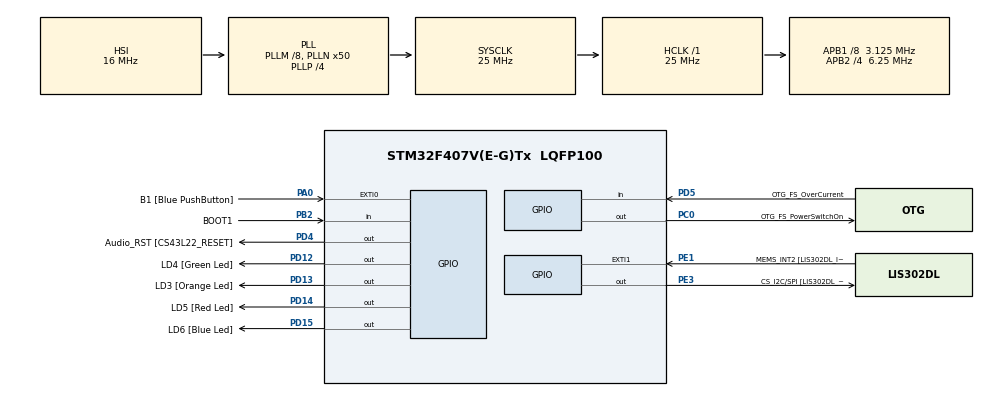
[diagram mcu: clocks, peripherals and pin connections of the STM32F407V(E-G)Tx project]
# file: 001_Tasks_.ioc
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Mcu.Family=STM32F4
Mcu.Name=STM32F407V(E-G)Tx
Mcu.Package=LQFP100
NVIC.PriorityGroup=NVIC_PRIORITYGROUP_4
NVIC.TIM6_DAC_IRQn=true\:0\:0\:false\:false\:true\:false\:true
NVIC.TimeBase=TIM6_DAC_IRQn
NVIC.TimeBaseIP=TIM6
PA0-WKUP.GPIO_Label=B1 [Blue PushButton]
PA0-WKUP.GPIO_ModeDefaultEXTI=GPIO_MODE_EVT_RISING
PA0-WKUP.GPIO_PuPd=GPIO_NOPULL
PA0-WKUP.Signal=GPXTI0
PA10.GPIO_Label=OTG_FS_ID
PA10.GPIO_Mode=GPIO_MODE_AF_PP
PA10.GPIO_PuPd=GPIO_NOPULL
PA10.GPIO_Speed=GPIO_SPEED_FREQ_LOW
PA10.Signal=USB_OTG_FS_ID
PA11.GPIO_Label=OTG_FS_DM
PA11.GPIO_Mode=GPIO_MODE_AF_PP
PA11.GPIO_PuPd=GPIO_NOPULL
PA11.GPIO_Speed=GPIO_SPEED_FREQ_LOW
PA11.Signal=USB_OTG_FS_DM
PA12.GPIO_Label=OTG_FS_DP
PA12.GPIO_Mode=GPIO_MODE_AF_PP
PA12.GPIO_PuPd=GPIO_NOPULL
PA12.GPIO_Speed=GPIO_SPEED_FREQ_LOW
PA12.Signal=USB_OTG_FS_DP
PA13.GPIO_Label=SWDIO
PA13.Signal=SYS_JTMS-SWDIO
PA14.GPIO_Label=SWCLK
PA14.Signal=SYS_JTCK-SWCLK
PA4.GPIO_Label=I2S3_WS [CS43L22_LRCK]
PA4.GPIO_Mode=GPIO_MODE_AF_PP
PA4.GPIO_PuPd=GPIO_NOPULL
PA4.GPIO_Speed=GPIO_SPEED_FREQ_LOW
PA4.Signal=I2S3_WS
PA5.GPIO_Label=SPI1_SCK [LIS302DL_SCL/SPC]
PA5.GPIO_Mode=GPIO_MODE_AF_PP
PA5.GPIO_PuPd=GPIO_NOPULL
PA5.GPIO_Speed=GPIO_SPEED_FREQ_LOW
PA5.Signal=SPI1_SCK
PA6.GPIO_Label=SPI1_MISO [LIS302DL_SDO]
PA6.GPIO_Mode=GPIO_MODE_AF_PP
PA6.GPIO_PuPd=GPIO_NOPULL
PA6.GPIO_Speed=GPIO_SPEED_FREQ_LOW
PA6.Signal=SPI1_MISO
PA7.GPIO_Label=SPI1_MOSI [LIS302DL_SDA/SDI/SDO]
PA7.GPIO_Mode=GPIO_MODE_AF_PP
PA7.GPIO_PuPd=GPIO_NOPULL
PA7.GPIO_Speed=GPIO_SPEED_FREQ_LOW
PA7.Signal=SPI1_MOSI
PA9.GPIO_Label=VBUS_FS
PA9.GPIO_Mode=GPIO_MODE_INPUT
PA9.GPIO_PuPd=GPIO_NOPULL
PA9.Signal=USB_OTG_FS_VBUS
PB10.GPIO_Label=CLK_IN [MP45DT02_CLK]
PB10.GPIO_Mode=GPIO_MODE_AF_PP
PB10.GPIO_PuPd=GPIO_NOPULL
PB10.GPIO_Speed=GPIO_SPEED_FREQ_LOW
PB10.Signal=I2S2_CK
PB2.GPIO_Label=BOOT1
PB2.GPIO_Mode=GPIO_MODE_INPUT
PB2.GPIO_PuPd=GPIO_NOPULL
PB2.Signal=GPIO_Input
PB3.GPIO_Label=SWO
PB3.Signal=SYS_JTDO-SWO
PB6.GPIO_Label=Audio_SCL [CS43L22_SCL]
PB6.GPIO_Mode=GPIO_MODE_AF_OD
PB6.GPIO_PuPd=GPIO_NOPULL
PB6.GPIO_Speed=GPIO_SPEED_FREQ_LOW
PB6.Signal=I2C1_SCL
PB9.GPIO_Label=Audio_SDA [CS43L22_SDA]
PB9.GPIO_Mode=GPIO_MODE_AF_OD
PB9.GPIO_PuPd=GPIO_NOPULL
PB9.GPIO_Speed=GPIO_SPEED_FREQ_LOW
PB9.Signal=I2C1_SDA
PC0.GPIO_Label=OTG_FS_PowerSwitchOn
PC0.GPIO_PuPd=GPIO_NOPULL
PC0.GPIO_Speed=GPIO_SPEED_FREQ_LOW
PC0.PinState=GPIO_PIN_SET
PC0.Signal=GPIO_Output
PC10.GPIO_Label=I2S3_SCK [CS43L22_SCLK]
PC10.GPIO_Mode=GPIO_MODE_AF_PP
PC10.GPIO_PuPd=GPIO_NOPULL
PC10.GPIO_Speed=GPIO_SPEED_FREQ_LOW
PC10.Signal=I2S3_CK
PC12.GPIO_Label=I2S3_SD [CS43L22_SDIN]
PC12.GPIO_Mode=GPIO_MODE_AF_PP
PC12.GPIO_PuPd=GPIO_NOPULL
PC12.GPIO_Speed=GPIO_SPEED_FREQ_LOW
PC12.Signal=I2S3_SD
PC14-OSC32_IN.GPIO_Label=PC14-OSC32_IN
PC14-OSC32_IN.Signal=RCC_OSC32_IN
PC15-OSC32_OUT.GPIO_Label=PC15-OSC32_OUT
PC15-OSC32_OUT.Signal=RCC_OSC32_OUT
PC3.GPIO_Label=PDM_OUT [MP45DT02_DOUT]
PC3.GPIO_Mode=GPIO_MODE_AF_PP
PC3.GPIO_PuPd=GPIO_NOPULL
PC3.GPIO_Speed=GPIO_SPEED_FREQ_LOW
PC3.Signal=I2S2_SD
PC7.GPIO_Label=I2S3_MCK [CS43L22_MCLK]
PC7.GPIO_Mode=GPIO_MODE_AF_PP
PC7.GPIO_PuPd=GPIO_NOPULL
PC7.GPIO_Speed=GPIO_SPEED_FREQ_LOW
PC7.Signal=I2S3_MCK
PD12.GPIO_Label=LD4 [Green Led]
PD12.GPIO_PuPd=GPIO_NOPULL
PD12.GPIO_Speed=GPIO_SPEED_FREQ_LOW
PD12.Signal=GPIO_Output
PD13.GPIO_Label=LD3 [Orange Led]
PD13.GPIO_PuPd=GPIO_NOPULL
PD13.GPIO_Speed=GPIO_SPEED_FREQ_LOW
PD13.Signal=GPIO_Output
PD14.GPIO_Label=LD5 [Red Led]
PD14.GPIO_PuPd=GPIO_NOPULL
PD14.GPIO_Speed=GPIO_SPEED_FREQ_LOW
PD14.Signal=GPIO_Output
PD15.GPIO_Label=LD6 [Blue Led]
PD15.GPIO_PuPd=GPIO_NOPULL
PD15.GPIO_Speed=GPIO_SPEED_FREQ_LOW
PD15.Signal=GPIO_Output
PD4.GPIO_Label=Audio_RST [CS43L22_RESET]
PD4.GPIO_PuPd=GPIO_NOPULL
PD4.GPIO_Speed=GPIO_SPEED_FREQ_LOW
PD4.Signal=GPIO_Output
PD5.GPIO_Label=OTG_FS_OverCurrent
PD5.GPIO_Mode=GPIO_MODE_INPUT
PD5.GPIO_PuPd=GPIO_NOPULL
PD5.Signal=GPIO_Input
PE1.GPIO_Label=MEMS_INT2 [LIS302DL_INT2]
PE1.GPIO_ModeDefaultEXTI=GPIO_MODE_EVT_RISING
PE1.GPIO_PuPd=GPIO_NOPULL
PE1.Signal=GPXTI1
PE3.GPIO_Label=CS_I2C/SPI [LIS302DL_CS_I2C/SPI]
PE3.GPIO_PuPd=GPIO_NOPULL
PE3.GPIO_Speed=GPIO_SPEED_FREQ_LOW
PE3.Signal=GPIO_Output
PH0-OSC_IN.GPIO_Label=PH0-OSC_IN
PH0-OSC_IN.Signal=RCC_OSC_IN
PH1-OSC_OUT.GPIO_Label=PH1-OSC_OUT
PH1-OSC_OUT.Signal=RCC_OSC_OUT
ProjectManager.HeapSize=0x200
ProjectManager.StackSize=0x400
ProjectManager.TargetToolchain=STM32CubeIDE
RCC.48MHZClocksFreq_Value=14285714.285714285
RCC.AHBFreq_Value=25000000
RCC.APB1CLKDivider=RCC_HCLK_DIV8
RCC.APB1Freq_Value=3125000
RCC.APB1TimFreq_Value=6250000
RCC.APB2CLKDivider=RCC_HCLK_DIV4
RCC.APB2Freq_Value=6250000
RCC.APB2TimFreq_Value=12500000
RCC.CortexFreq_Value=25000000
RCC.HCLKFreq_Value=25000000
RCC.HSE_VALUE=8000000
RCC.HSI_VALUE=16000000
RCC.LSE_VALUE=32768
RCC.PLLM=8
RCC.PLLN=50
RCC.PLLP=RCC_PLLP_DIV4
RCC.PLLQ=7
RCC.SYSCLKFreq_VALUE=25000000
RCC.SYSCLKSource=RCC_SYSCLKSOURCE_PLLCLK
RCC.VCOOutputFreq_Value=100000000
VP_SYS_VS_tim6.Mode=TIM6
board=STM32F4DISCOVERY

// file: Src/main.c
/* USER CODE BEGIN Header */
/**
  ******************************************************************************
  * @file           : main.c
  * @brief          : Main program body
  ******************************************************************************
  * @attention
  *
  * <h2><center>&copy; Copyright (c) 2025 STMicroelectronics.
  * All rights reserved.</center></h2>
  *
  * This software component is licensed by ST under BSD 3-Clause license,
  * the "License"; You may not use this file except in compliance with the
  * License. You may obtain a copy of the License at:
  *                        opensource.org/licenses/BSD-3-Clause
  *
  ******************************************************************************
  */
/* USER CODE END Header */

#include "main.h"

/* USER CODE BEGIN Includes */

#include "FreeRTOS.h"
#include "task.h"
#include <stdio.h>

/* USER CODE END Includes */

/* USER CODE BEGIN PV */

#define DWT_CTRL		(*(volatile uint32_t*)0xE0001000)

/* USER CODE END PV */

void SystemClock_Config(void);
static void MX_GPIO_Init(void);
/* USER CODE BEGIN PFP */

static void task1_handler(void* parameter);
static void task2_handler(void* parameter);

/* USER CODE END PFP */

int main(void)
{
  /* USER CODE BEGIN 1 */

	TaskHandle_t task1_handle;
	TaskHandle_t task2_handle;
	BaseType_t status;

  /* USER CODE END 1 */

  /* MCU Configuration--------------------------------------------------------*/

  /* Reset of all peripherals, Initializes the Flash interface and the Systick. */
  HAL_Init();

  /* Configure the system clock */
  SystemClock_Config();

  /* Initialize all configured peripherals */
  MX_GPIO_Init();
  /* USER CODE BEGIN 2 */

  // Enable the cycle counter
  DWT_CTRL |= (1 << 0);

  SEGGER_SYSVIEW_Conf();

  SEGGER_SYSVIEW_Start();

  printf("Calling the printf() function to avoid HardFault \n");

  status = xTaskCreate(task1_handler, "Task1", 200, "Hello World from Task-1", 2, &task1_handle);

  configASSERT(status == pdPASS);

  status = xTaskCreate(task2_handler, "Task2", 200, "Hello World from Task-2", 2, &task2_handle);

  configASSERT(status == pdPASS);

  // Start the FreeRTOS scheduler
  vTaskStartScheduler();

  // If the control comes here, then the launch of the scheduler has failed due to insufficient memory in the heap

  /* USER CODE END 2 */

  /* Infinite loop */
  /* USER CODE BEGIN WHILE */
  while (1)
  {
	  printf("Hello World\n");

    /* USER CODE END WHILE */

  }
}

void SystemClock_Config(void)
{
  RCC_OscInitTypeDef RCC_OscInitStruct = {0};
  RCC_ClkInitTypeDef RCC_ClkInitStruct = {0};

  /** Configure the main internal regulator output voltage
  */
  __HAL_RCC_PWR_CLK_ENABLE();
  __HAL_PWR_VOLTAGESCALING_CONFIG(PWR_REGULATOR_VOLTAGE_SCALE1);
  /** Initializes the CPU, AHB and APB busses clocks
  */
  RCC_OscInitStruct.OscillatorType = RCC_OSCILLATORTYPE_HSI;
  RCC_OscInitStruct.HSIState = RCC_HSI_ON;
  RCC_OscInitStruct.HSICalibrationValue = RCC_HSICALIBRATION_DEFAULT;
  RCC_OscInitStruct.PLL.PLLState = RCC_PLL_ON;
  RCC_OscInitStruct.PLL.PLLSource = RCC_PLLSOURCE_HSI;
  RCC_OscInitStruct.PLL.PLLM = 8;
  RCC_OscInitStruct.PLL.PLLN = 50;
  RCC_OscInitStruct.PLL.PLLP = RCC_PLLP_DIV4;
  RCC_OscInitStruct.PLL.PLLQ = 7;
  if (HAL_RCC_OscConfig(&RCC_OscInitStruct) != HAL_OK)
  {
    Error_Handler();
  }
  /** Initializes the CPU, AHB and APB busses clocks
  */
  RCC_ClkInitStruct.ClockType = RCC_CLOCKTYPE_HCLK|RCC_CLOCKTYPE_SYSCLK
                              |RCC_CLOCKTYPE_PCLK1|RCC_CLOCKTYPE_PCLK2;
  RCC_ClkInitStruct.SYSCLKSource = RCC_SYSCLKSOURCE_PLLCLK;
  RCC_ClkInitStruct.AHBCLKDivider = RCC_SYSCLK_DIV1;
  RCC_ClkInitStruct.APB1CLKDivider = RCC_HCLK_DIV8;
  RCC_ClkInitStruct.APB2CLKDivider = RCC_HCLK_DIV4;

  if (HAL_RCC_ClockConfig(&RCC_ClkInitStruct, FLASH_LATENCY_0) != HAL_OK)
  {
    Error_Handler();
  }
}

static void MX_GPIO_Init(void)
{
  GPIO_InitTypeDef GPIO_InitStruct = {0};

  /* GPIO Ports Clock Enable */
  __HAL_RCC_GPIOE_CLK_ENABLE();
  __HAL_RCC_GPIOC_CLK_ENABLE();
  __HAL_RCC_GPIOH_CLK_ENABLE();
  __HAL_RCC_GPIOA_CLK_ENABLE();
  __HAL_RCC_GPIOB_CLK_ENABLE();
  __HAL_RCC_GPIOD_CLK_ENABLE();

  /*Configure GPIO pin Output Level */
  HAL_GPIO_WritePin(CS_I2C_SPI_GPIO_Port, CS_I2C_SPI_Pin, GPIO_PIN_RESET);

  /*Configure GPIO pin Output Level */
  HAL_GPIO_WritePin(OTG_FS_PowerSwitchOn_GPIO_Port, OTG_FS_PowerSwitchOn_Pin, GPIO_PIN_SET);

  /*Configure GPIO pin Output Level */
  HAL_GPIO_WritePin(GPIOD, LD4_Pin|LD3_Pin|LD5_Pin|LD6_Pin
                          |Audio_RST_Pin, GPIO_PIN_RESET);

  /*Configure GPIO pin : CS_I2C_SPI_Pin */
  GPIO_InitStruct.Pin = CS_I2C_SPI_Pin;
  GPIO_InitStruct.Mode = GPIO_MODE_OUTPUT_PP;
  GPIO_InitStruct.Pull = GPIO_NOPULL;
  GPIO_InitStruct.Speed = GPIO_SPEED_FREQ_LOW;
  HAL_GPIO_Init(CS_I2C_SPI_GPIO_Port, &GPIO_InitStruct);

  /*Configure GPIO pin : OTG_FS_PowerSwitchOn_Pin */
  GPIO_InitStruct.Pin = OTG_FS_PowerSwitchOn_Pin;
  GPIO_InitStruct.Mode = GPIO_MODE_OUTPUT_PP;
  GPIO_InitStruct.Pull = GPIO_NOPULL;
  GPIO_InitStruct.Speed = GPIO_SPEED_FREQ_LOW;
  HAL_GPIO_Init(OTG_FS_PowerSwitchOn_GPIO_Port, &GPIO_InitStruct);

  /*Configure GPIO pin : PDM_OUT_Pin */
  GPIO_InitStruct.Pin = PDM_OUT_Pin;
  GPIO_InitStruct.Mode = GPIO_MODE_AF_PP;
  GPIO_InitStruct.Pull = GPIO_NOPULL;
  GPIO_InitStruct.Speed = GPIO_SPEED_FREQ_LOW;
  GPIO_InitStruct.Alternate = GPIO_AF5_SPI2;
  HAL_GPIO_Init(PDM_OUT_GPIO_Port, &GPIO_InitStruct);

  /*Configure GPIO pin : B1_Pin */
  GPIO_InitStruct.Pin = B1_Pin;
  GPIO_InitStruct.Mode = GPIO_MODE_EVT_RISING;
  GPIO_InitStruct.Pull = GPIO_NOPULL;
  HAL_GPIO_Init(B1_GPIO_Port, &GPIO_InitStruct);

  /*Configure GPIO pin : I2S3_WS_Pin */
  GPIO_InitStruct.Pin = I2S3_WS_Pin;
  GPIO_InitStruct.Mode = GPIO_MODE_AF_PP;
  GPIO_InitStruct.Pull = GPIO_NOPULL;
  GPIO_InitStruct.Speed = GPIO_SPEED_FREQ_LOW;
  GPIO_InitStruct.Alternate = GPIO_AF6_SPI3;
  HAL_GPIO_Init(I2S3_WS_GPIO_Port, &GPIO_InitStruct);

  /*Configure GPIO pins : SPI1_SCK_Pin SPI1_MISO_Pin SPI1_MOSI_Pin */
  GPIO_InitStruct.Pin = SPI1_SCK_Pin|SPI1_MISO_Pin|SPI1_MOSI_Pin;
  GPIO_InitStruct.Mode = GPIO_MODE_AF_PP;
  GPIO_InitStruct.Pull = GPIO_NOPULL;
  GPIO_InitStruct.Speed = GPIO_SPEED_FREQ_LOW;
  GPIO_InitStruct.Alternate = GPIO_AF5_SPI1;
  HAL_GPIO_Init(GPIOA, &GPIO_InitStruct);

  /*Configure GPIO pin : BOOT1_Pin */
  GPIO_InitStruct.Pin = BOOT1_Pin;
  GPIO_InitStruct.Mode = GPIO_MODE_INPUT;
  GPIO_InitStruct.Pull = GPIO_NOPULL;
  HAL_GPIO_Init(BOOT1_GPIO_Port, &GPIO_InitStruct);

  /*Configure GPIO pin : CLK_IN_Pin */
  GPIO_InitStruct.Pin = CLK_IN_Pin;
  GPIO_InitStruct.Mode = GPIO_MODE_AF_PP;
  GPIO_InitStruct.Pull = GPIO_NOPULL;
  GPIO_InitStruct.Speed = GPIO_SPEED_FREQ_LOW;
  GPIO_InitStruct.Alternate = GPIO_AF5_SPI2;
  HAL_GPIO_Init(CLK_IN_GPIO_Port, &GPIO_InitStruct);

  /*Configure GPIO pins : LD4_Pin LD3_Pin LD5_Pin LD6_Pin
                           Audio_RST_Pin */
  GPIO_InitStruct.Pin = LD4_Pin|LD3_Pin|LD5_Pin|LD6_Pin
                          |Audio_RST_Pin;
  GPIO_InitStruct.Mode = GPIO_MODE_OUTPUT_PP;
  GPIO_InitStruct.Pull = GPIO_NOPULL;
  GPIO_InitStruct.Speed = GPIO_SPEED_FREQ_LOW;
  HAL_GPIO_Init(GPIOD, &GPIO_InitStruct);

  /*Configure GPIO pins : I2S3_MCK_Pin I2S3_SCK_Pin I2S3_SD_Pin */
  GPIO_InitStruct.Pin = I2S3_MCK_Pin|I2S3_SCK_Pin|I2S3_SD_Pin;
  GPIO_InitStruct.Mode = GPIO_MODE_AF_PP;
  GPIO_InitStruct.Pull = GPIO_NOPULL;
  GPIO_InitStruct.Speed = GPIO_SPEED_FREQ_LOW;
  GPIO_InitStruct.Alternate = GPIO_AF6_SPI3;
  HAL_GPIO_Init(GPIOC, &GPIO_InitStruct);

  /*Configure GPIO pin : VBUS_FS_Pin */
  GPIO_InitStruct.Pin = VBUS_FS_Pin;
  GPIO_InitStruct.Mode = GPIO_MODE_INPUT;
  GPIO_InitStruct.Pull = GPIO_NOPULL;
  HAL_GPIO_Init(VBUS_FS_GPIO_Port, &GPIO_InitStruct);

  /*Configure GPIO pins : OTG_FS_ID_Pin OTG_FS_DM_Pin OTG_FS_DP_Pin */
  GPIO_InitStruct.Pin = OTG_FS_ID_Pin|OTG_FS_DM_Pin|OTG_FS_DP_Pin;
  GPIO_InitStruct.Mode = GPIO_MODE_AF_PP;
  GPIO_InitStruct.Pull = GPIO_NOPULL;
  GPIO_InitStruct.Speed = GPIO_SPEED_FREQ_LOW;
  GPIO_InitStruct.Alternate = GPIO_AF10_OTG_FS;
  HAL_GPIO_Init(GPIOA, &GPIO_InitStruct);

  /*Configure GPIO pin : OTG_FS_OverCurrent_Pin */
  GPIO_InitStruct.Pin = OTG_FS_OverCurrent_Pin;
  GPIO_InitStruct.Mode = GPIO_MODE_INPUT;
  GPIO_InitStruct.Pull = GPIO_NOPULL;
  HAL_GPIO_Init(OTG_FS_OverCurrent_GPIO_Port, &GPIO_InitStruct);

  /*Configure GPIO pins : Audio_SCL_Pin Audio_SDA_Pin */
  GPIO_InitStruct.Pin = Audio_SCL_Pin|Audio_SDA_Pin;
  GPIO_InitStruct.Mode = GPIO_MODE_AF_OD;
  GPIO_InitStruct.Pull = GPIO_PULLUP;
  GPIO_InitStruct.Speed = GPIO_SPEED_FREQ_LOW;
  GPIO_InitStruct.Alternate = GPIO_AF4_I2C1;
  HAL_GPIO_Init(GPIOB, &GPIO_InitStruct);

  /*Configure GPIO pin : MEMS_INT2_Pin */
  GPIO_InitStruct.Pin = MEMS_INT2_Pin;
  GPIO_InitStruct.Mode = GPIO_MODE_EVT_RISING;
  GPIO_InitStruct.Pull = GPIO_NOPULL;
  HAL_GPIO_Init(MEMS_INT2_GPIO_Port, &GPIO_InitStruct);

}

/* USER CODE BEGIN 4 */

static void task1_handler(void* parameter)
{

	while(1)
	{
		printf("%s\n", (char*)parameter);
		//taskYIELD();		// Force the processor for contact switching
	}

}

static void task2_handler(void* parameter)
{

	while(1)
	{
		printf("%s\n", (char*)parameter);
		//taskYIELD();		// Force the processor for contact switching
	}

}

/* USER CODE END 4 */

void HAL_TIM_PeriodElapsedCallback(TIM_HandleTypeDef *htim)
{
  if (htim->Instance == TIM6) {
    HAL_IncTick();
  }
}

void Error_Handler(void)
{
}

/************************ (C) COPYRIGHT STMicroelectronics *****END OF FILE****/
